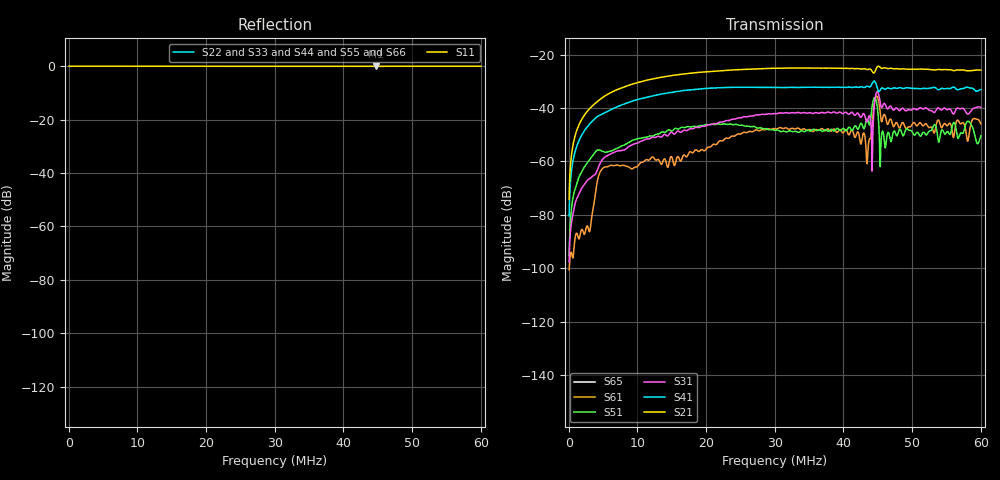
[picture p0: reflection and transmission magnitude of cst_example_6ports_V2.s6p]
! TOUCHSTONE file generated by CST MICROWAVE STUDIO
! Date and time: Mon Jul 31 11:27:22 2017
! Project name: blablabla.cst
! Parameters = {time_factor=0.5; FW_Rcenter=7864; FW_Zcenter=610.6; FW_height=1100; FW_incl_angle=2.98905; FW_incl_angle_rad=0.0521687; FW_thickness=43.026; vertical_septum_recess_strap=20; vertical_septum_recess_top_septum=55.7648; x_in=0.0256129; x_mid=395; x_out=0.0707403; y_mid=9.52041}
! Header version: 2015
! Port assignment regex: !\s*Touchstone port\s*([0-9]+)\s*=\s*CST MWS port\s*([0-9]+)\s*\(\"(.*)\"\)(\s*mode\s*([0-9]+))?.*
! Touchstone port assignment:
! Touchstone port 1 = CST MWS port 1 ("")
! Touchstone port 2 = CST MWS port 2 ("")
! Touchstone port 3 = CST MWS port 3 ("")
! Touchstone port 4 = CST MWS port 4 ("")
! Touchstone port 5 = CST MWS port 5 ("")
! Touchstone port 6 = CST MWS port 6 ("")
! Default impedance is overridden by [Reference]
[Version] 2.0
# MHz S MA R 15.063
[Number of Ports] 6
[Reference]
15.063 15.063 15.063 15.063 15.063 15.063
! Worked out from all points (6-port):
!   1000 points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, 60 kHz to 60 MHz, reference 15.063 ohm
!   strongest paths, dB at 60 kHz, 15.06 MHz, 30.06 MHz, 45.06 MHz, 60 MHz:
!     S21: -74.1, -27.8, -25.1, -24.4, -25.8
!     S41: -80.5, -34.2, -32.3, -33.7, -33.1
!     S31: -97.7, -49.2, -42.1, -34.5, -39.8
!     S51: -95.1, -48.7, -48.4, -43.2, -50.4
!     S61: -100.6, -58.7, -47.8, -36.7, -46.0
!     S65: -, -, -, -, -
!   lowest |S11| = -0.1 dB at 44.76 MHz (marker M1), VSWR 185.36, Z = 0.356 + j27.7 ohm
!   |S11| at or under -10 dB: nowhere
